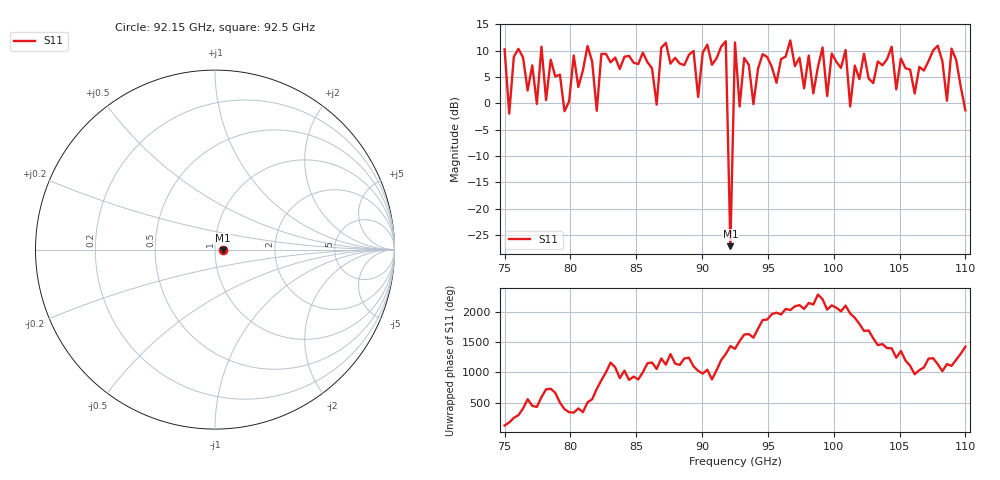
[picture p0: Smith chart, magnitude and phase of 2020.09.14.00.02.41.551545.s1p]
!Created with skrf (http://scikit-rf.org).
# GHz S RI R 50.0
!freq ReS11 ImS11
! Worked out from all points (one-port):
!   101 points, 75 GHz to 110 GHz, reference 50 ohm
!   lowest |S11| = -27.1 dB at 92.15 GHz (marker M1), VSWR 1.09, Z = 54.6 - j0.499 ohm
!   |S11| at or under -10 dB: 91.99602 GHz to 92.30491 GHz (308.9 MHz wide, 0.335 % of centre)
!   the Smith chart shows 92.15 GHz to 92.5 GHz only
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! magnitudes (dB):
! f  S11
! 75 GHz  10.2
! 75.35 GHz  -2.0
! 76.05 GHz  10.3
! 77.45 GHz  -0.1
! 77.8 GHz  10.8
! 79.55 GHz  -1.5
! 80.25 GHz  9.1
! 81.3 GHz  10.9
! 82 GHz  -1.4
! 82.35 GHz  9.4
! 83.75 GHz  6.5
! 88.3 GHz  7.6
! 89.7 GHz  1.2
! 91.8 GHz  11.8
! 92.15 GHz  -27.1
! 92.5 GHz  11.5
! 92.85 GHz  -0.6
! 93.2 GHz  8.6
! 93.9 GHz  -0.2
! 97.05 GHz  7.1
! 100.9 GHz  10.1
! 101.2 GHz  -0.6
! 102.3 GHz  9.4
! 105.8 GHz  6.4
! 107.9 GHz  10.9
! 108.6 GHz  0.5
! 109 GHz  10.4
! 110 GHz  -1.3
